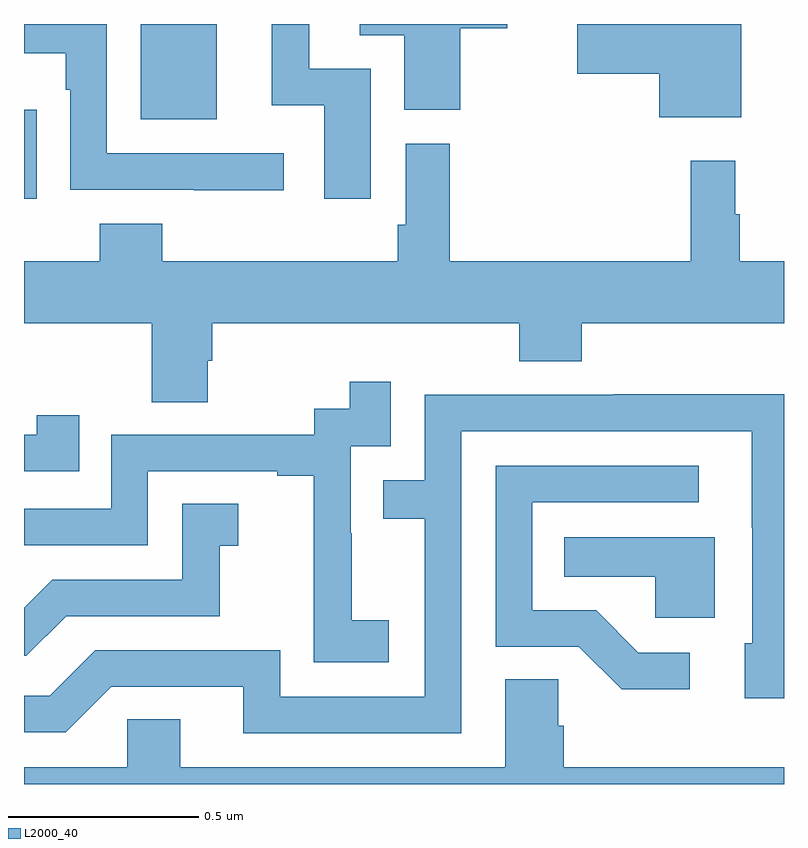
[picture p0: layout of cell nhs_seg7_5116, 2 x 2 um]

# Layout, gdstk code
import gdstk
lib = gdstk.Library(unit=1e-6, precision=1e-09)
def R(c, l, rs):  # rectangles x0, y0, x1, y1
    for r in rs: c.add(gdstk.rectangle(r[:2], r[2:], *l))
def P(c, l, *ps):  # polygons
    for p in ps: c.add(gdstk.Polygon(p, *l))
L2000_40 = (2000, 40)

nhs_seg7_5116 = lib.new_cell('nhs_seg7_5116')
R(nhs_seg7_5116, L2000_40, [(181,1071.54,181.033,1071.775), (181.307,1071.749,181.507,1072)])
P(nhs_seg7_5116, L2000_40, [(181.912,1071.882),(181.75,1071.882),(181.75,1072),(181.652,1072),(181.652,1071.786),(181.79,1071.786),(181.79,1071.54),(181.912,1071.54)],
  [(182.148,1071.989),(182.272,1071.989),(182.272,1072),(181.883,1072),(181.883,1071.971),(182,1071.971),(182,1071.774),(182.148,1071.774)],
  [(182.887,1072),(182.456,1072),(182.456,1071.869),(182.672,1071.869),(182.672,1071.755),(182.887,1071.755)],
  [(181.684,1071.66),(181.218,1071.66),(181.218,1072),(181,1072),(181,1071.923),(181.11,1071.923),(181.11,1071.827),(181.122,1071.827),(181.122,1071.564),(181.447,1071.564),(181.447,1071.563),(181.684,1071.563)],
  [(181.483,1071.114),(181.496,1071.114),(181.496,1071.212),(182.303,1071.212),(182.303,1071.113),(182.468,1071.113),(182.468,1071.212),(183,1071.212),(183,1071.376),(182.884,1071.376),(182.884,1071.5),(182.872,1071.5),(182.872,1071.64),(182.755,1071.64),(182.755,1071.376),(182.12,1071.376),(182.12,1071.685),(182.004,1071.685),(182.004,1071.472),(181.984,1071.472),(181.984,1071.376),(181.364,1071.376),(181.364,1071.475),(181.199,1071.475),(181.199,1071.376),(181,1071.376),(181,1071.212),(181.336,1071.212),(181.336,1071.004),(181.483,1071.004)],
  [(181.96,1070.431),(181.862,1070.431),(181.862,1070.66),(181.86,1070.66),(181.86,1070.889),(181.965,1070.889),(181.965,1071.058),(181.857,1071.058),(181.857,1070.988),(181.764,1070.988),(181.764,1070.919),(181.23,1070.919),(181.23,1070.724),(181,1070.724),(181,1070.628),(181.326,1070.628),(181.326,1070.823),(181.667,1070.823),(181.667,1070.811),(181.763,1070.811),(181.763,1070.527),(181.762,1070.527),(181.762,1070.321),(181.96,1070.321)],
  [(182.151,1070.928),(182.915,1070.928),(182.915,1070.674),(182.916,1070.674),(182.916,1070.37),(182.897,1070.37),(182.897,1070.226),(183,1070.226),(183,1071.026),(182.551,1071.026),(182.551,1071.024),(182.055,1071.024),(182.055,1070.799),(181.945,1070.799),(181.945,1070.698),(182.055,1070.698),(182.055,1070.229),(181.674,1070.229),(181.674,1070.352),(181.188,1070.352),(181.068,1070.232),(181,1070.232),(181,1070.136),(181.11,1070.136),(181.23,1070.256),(181.577,1070.256),(181.577,1070.133),(182.151,1070.133)],
  [(181.145,1070.971),(181.034,1070.971),(181.034,1070.919),(181,1070.919),(181,1070.823),(181.145,1070.823)],
  [(182.752,1070.346),(182.617,1070.346),(182.506,1070.457),(182.337,1070.457),(182.337,1070.742),(182.776,1070.742),(182.776,1070.838),(182.241,1070.838),(182.241,1070.361),(182.46,1070.361),(182.573,1070.249),(182.752,1070.249)],
  [(181.111,1070.442),(181.515,1070.442),(181.515,1070.627),(181.564,1070.627),(181.564,1070.737),(181.416,1070.737),(181.416,1070.538),(181.074,1070.538),(181,1070.464),(181,1070.337),(181.006,1070.337)],
  [(182.818,1070.65),(182.422,1070.65),(182.422,1070.546),(182.661,1070.546),(182.661,1070.438),(182.818,1070.438)],
  [(183,1070.044),(182.42,1070.044),(182.42,1070.153),(182.406,1070.153),(182.406,1070.276),(182.267,1070.276),(182.267,1070.044),(181.411,1070.044),(181.411,1070.171),(181.272,1070.171),(181.272,1070.044),(181,1070.044),(181,1070),(183,1070)])

lib.write_gds('nhs_seg7_5116.gds')
